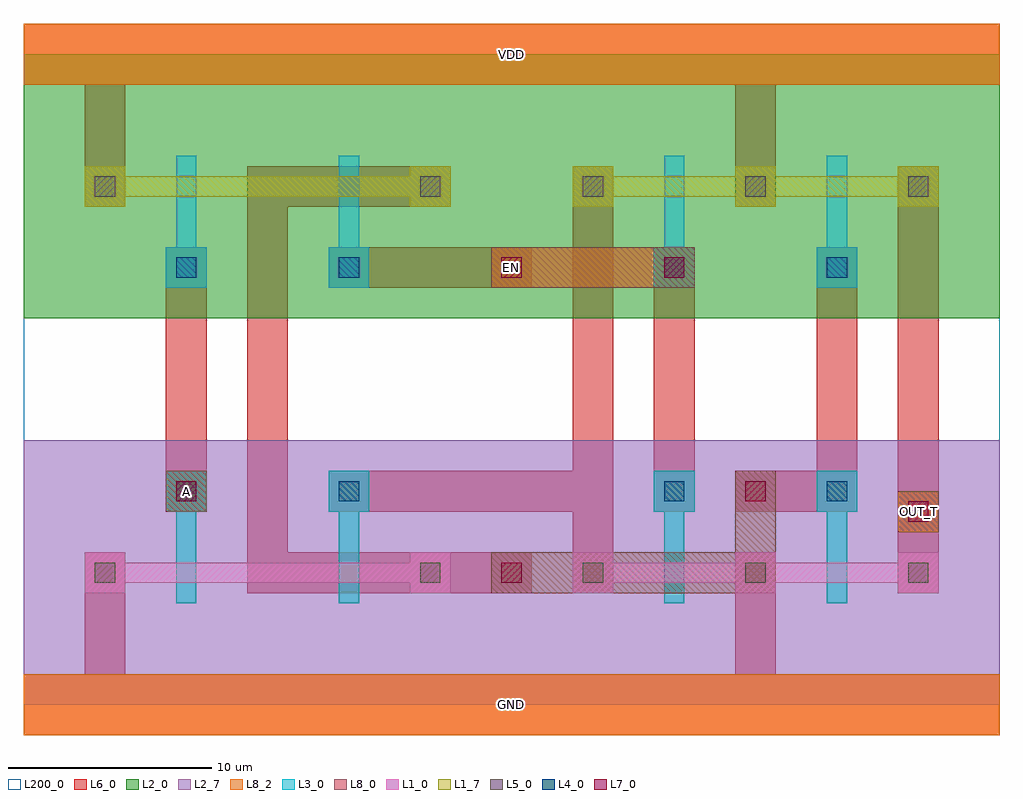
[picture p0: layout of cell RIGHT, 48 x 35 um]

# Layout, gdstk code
import gdstk
lib = gdstk.Library(unit=1e-6, precision=1e-09)
def R(c, l, rs):  # rectangles x0, y0, x1, y1
    for r in rs: c.add(gdstk.rectangle(r[:2], r[2:], *l))
def A(c, l, x, y, w, h, nx, ny, dx, dy):  # array of equal rectangles
    R(c, l, [(x+i*dx, y+j*dy, x+i*dx+w, y+j*dy+h) for i in range(nx) for j in range(ny)])
def P(c, l, *ps):  # polygons
    for p in ps: c.add(gdstk.Polygon(p, *l))
L1_0 = (1, 0)
L1_7 = (1, 7)
L2_0 = (2, 0)
L2_7 = (2, 7)
L3_0 = (3, 0)
L4_0 = (4, 0)
L5_0 = (5, 0)
L6_0 = (6, 0)
L7_0 = (7, 0)
L8_0 = (8, 0)
L8_2 = (8, 2)
L200_0 = (200, 0)

right = lib.new_cell('RIGHT')
P(right, L1_0, [(3,5.5),(3,7.5),(5,7.5),(5,7),(19,7),(19,7.5),(21,7.5),(21,5.5),(19,5.5),(19,6),(5,6),(5,5.5)],
  [(27,5.5),(27,7.5),(29,7.5),(29,7),(35,7),(35,7.5),(37,7.5),(37,7),(43,7),(43,7.5),(45,7.5),(45,5.5),(43,5.5),(43,6),(37,6),(37,5.5),(35,5.5),(35,6),(29,6),(29,5.5)])
P(right, L1_7, [(3,24.5),(3,26.5),(5,26.5),(5,26),(19,26),(19,26.5),(21,26.5),(21,24.5),(19,24.5),(19,25),(5,25),(5,24.5)],
  [(27,24.5),(27,26.5),(29,26.5),(29,26),(35,26),(35,26.5),(37,26.5),(37,26),(43,26),(43,26.5),(45,26.5),(45,24.5),(43,24.5),(43,25),(37,25),(37,24.5),(35,24.5),(35,25),(29,25),(29,24.5)])
R(right, L2_0, [(0,19,48,32)])
R(right, L2_7, [(0,0,48,13)])
P(right, L3_0, [(7.5,5),(7.5,9.5),(7,9.5),(7,11.5),(9,11.5),(9,9.5),(8.5,9.5),(8.5,5)],
  [(15.5,5),(15.5,9.5),(15,9.5),(15,11.5),(17,11.5),(17,9.5),(16.5,9.5),(16.5,5)],
  [(31.5,5),(31.5,9.5),(31,9.5),(31,11.5),(33,11.5),(33,9.5),(32.5,9.5),(32.5,5)],
  [(39.5,5),(39.5,9.5),(39,9.5),(39,11.5),(41,11.5),(41,9.5),(40.5,9.5),(40.5,5)],
  [(7,20.5),(7,22.5),(7.5,22.5),(7.5,27),(8.5,27),(8.5,22.5),(9,22.5),(9,20.5)],
  [(15,20.5),(15,22.5),(15.5,22.5),(15.5,27),(16.5,27),(16.5,22.5),(17,22.5),(17,20.5)],
  [(31,20.5),(31,22.5),(31.5,22.5),(31.5,27),(32.5,27),(32.5,22.5),(33,22.5),(33,20.5)],
  [(39,20.5),(39,22.5),(39.5,22.5),(39.5,27),(40.5,27),(40.5,22.5),(41,22.5),(41,20.5)])
R(right, L4_0, [(7.5,10,8.5,11), (15.5,10,16.5,11), (31.5,10,32.5,11), (39.5,10,40.5,11), (7.5,21,8.5,22), (15.5,21,16.5,22), (31.5,21,32.5,22), (39.5,21,40.5,22)])
A(right, L5_0, 19.5, 6, 1, 1, 4, 2, 8, 19)
R(right, L5_0, [(3.5,6,4.5,7), (3.5,25,4.5,26)])
R(right, L6_0, [(43,5.5,45,26.5), (7,9.5,9,22.5), (31,9.5,33,22.5), (15,20.5,25,22.5)])
P(right, L6_0, [(0,-1.5),(0,1.5),(3,1.5),(3,7.5),(5,7.5),(5,1.5),(35,1.5),(35,7.5),(37,7.5),(37,1.5),(48,1.5),(48,-1.5)],
  [(35,9.5),(35,11.5),(39,11.5),(39,22.5),(41,22.5),(41,9.5)],
  [(11,5.5),(11,26.5),(21,26.5),(21,24.5),(13,24.5),(13,7.5),(25,7.5),(25,5.5)],
  [(27,5.5),(27,9.5),(15,9.5),(15,11.5),(27,11.5),(27,26.5),(29,26.5),(29,5.5)],
  [(3,24.5),(3,30.5),(0,30.5),(0,33.5),(48,33.5),(48,30.5),(37,30.5),(37,24.5),(35,24.5),(35,30.5),(5,30.5),(5,24.5)])
R(right, L7_0, [(23.5,6,24.5,7), (43.5,9,44.5,10), (7.5,10,8.5,11), (35.5,10,36.5,11), (23.5,21,24.5,22), (31.5,21,32.5,22)])
R(right, L8_0, [(43,8.5,45,10.5), (7,9.5,9,11.5), (23,20.5,33,22.5)])
P(right, L8_0, [(23,5.5),(23,7.5),(35,7.5),(35,11.5),(37,11.5),(37,5.5)])
R(right, L8_2, [(43,8.5,45,10.5), (7,9.5,9,11.5), (23,20.5,33,22.5)])
R(right, L200_0, [(0,0,48,32)])
right.add(gdstk.FlexPath([(0,32),(48,32)], 3, ends="flush", simple_path=True, layer=8, datatype=2))  # L8_2
right.add(gdstk.FlexPath([(0,0),(48,0)], 3, ends="flush", simple_path=True, layer=8, datatype=2))  # L8_2
right.add(gdstk.Label('GND', (24,0), layer=6, texttype=1))
right.add(gdstk.Label('VDD', (24,32), layer=6, texttype=1))
right.add(gdstk.Label('OUT_T', (44,9.5), layer=8, texttype=1))
right.add(gdstk.Label('A', (8,10.5), layer=8, texttype=1))
right.add(gdstk.Label('EN', (24,21.5), layer=8, texttype=1))

lib.write_gds('RIGHT.gds')
